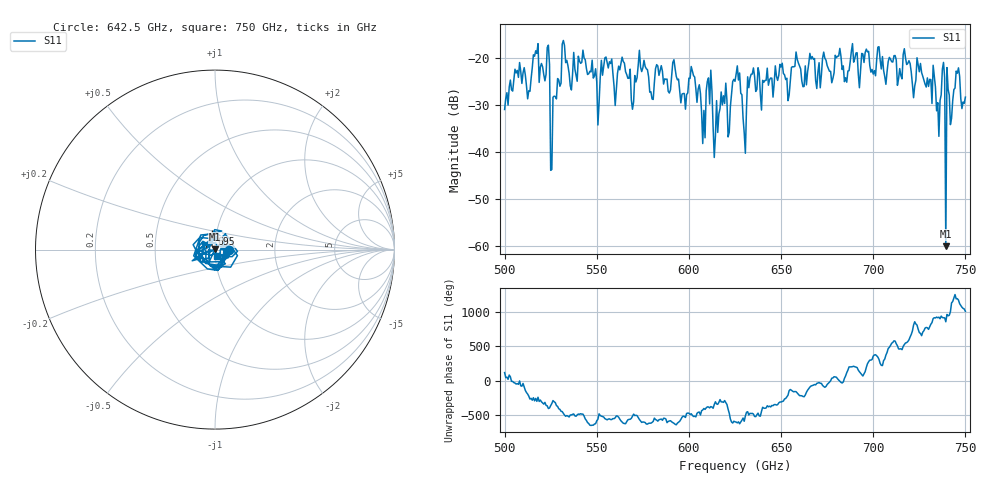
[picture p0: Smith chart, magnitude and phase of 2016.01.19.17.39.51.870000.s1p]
!Created with skrf (http://scikit-rf.org).
# GHz S RI R 50.0
!freq ReS11 ImS11
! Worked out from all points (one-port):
!   401 points, 500 GHz to 750 GHz, reference 50 ohm
!   lowest |S11| = -60.1 dB at 739.4 GHz (marker M1), VSWR 1.00, Z = 49.9 + j0.0654 ohm
!   |S11| at or under -10 dB: start of sweep to end of sweep
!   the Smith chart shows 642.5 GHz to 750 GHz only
!   S11 on the Smith chart (normalised r, x): 642.5 GHz: 1.17, -0.01; 695 GHz: 0.95, +0.17; 750 GHz: 1.02, -0.07
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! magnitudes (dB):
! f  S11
! 500 GHz  -31.0
! 506.9 GHz  -22.7
! 513.1 GHz  -27.0
! 516.9 GHz  -18.5
! 523.1 GHz  -17.8
! 526.2 GHz  -28.4
! 531.2 GHz  -17.1
! 550.6 GHz  -34.3
! 562.5 GHz  -22.6
! 570 GHz  -29.4
! 574.4 GHz  -22.9
! 580 GHz  -28.8
! 593.8 GHz  -24.7
! 601.9 GHz  -22.8
! 607.5 GHz  -38.3
! 611.2 GHz  -29.8
! 614.4 GHz  -36.7
! 625 GHz  -25.0
! 630 GHz  -36.0
! 633.1 GHz  -24.3
! 642.5 GHz  -22.2
! 656.2 GHz  -21.9
! 687.5 GHz  -20.9
! 695 GHz  -21.0
! 718.8 GHz  -21.2
! 739.4 GHz  -60.1
! 745.6 GHz  -23.3
! 750 GHz  -28.4
